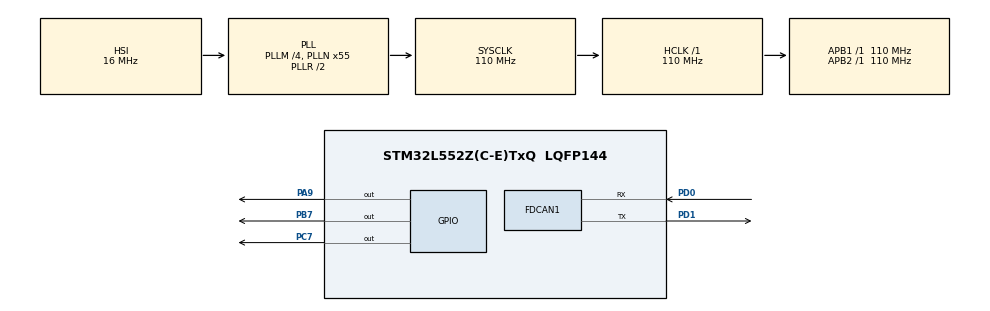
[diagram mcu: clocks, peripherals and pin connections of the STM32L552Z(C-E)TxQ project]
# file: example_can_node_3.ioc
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FDCAN1.AutoRetransmission=ENABLE
FDCAN1.CalculateBaudRateNominal=2291666
FDCAN1.CalculateTimeBitNominal=436
FDCAN1.CalculateTimeQuantumNominal=145.45454545454547
FDCAN1.ClockDivider=FDCAN_CLOCK_DIV4
FDCAN1.DataPrescaler=4
FDCAN1.ExtFiltersNbr=1
FDCAN1.Mode=FDCAN_MODE_INTERNAL_LOOPBACK
FDCAN1.NominalPrescaler=4
Mcu.Family=STM32L5
Mcu.Name=STM32L552Z(C-E)TxQ
Mcu.Package=LQFP144
Mcu.TrustZone=disable
NUCLEO-L552ZE-Q.BUTTON=1
NUCLEO-L552ZE-Q.LD1=true
NUCLEO-L552ZE-Q.LD2=true
NUCLEO-L552ZE-Q.LD3=true
NUCLEO-L552ZE-Q.VCP=true
NVIC.EXTI13_IRQn=true\:0\:0\:false\:false\:true\:false\:true\:true
NVIC.FDCAN1_IT0_IRQn=true\:0\:0\:false\:false\:true\:true\:true\:true
NVIC.PriorityGroup=NVIC_PRIORITYGROUP_3
PA13\ (JTMS/SWDIO).Signal=DEBUG_JTMS-SWDIO
PA14\ (JTCK/SWCLK).Signal=DEBUG_JTCK-SWCLK
PA9.Signal=GPIO_Output
PB3\ (JTDO/TRACESWO).Signal=DEBUG_JTDO-SWO
PB7.Signal=GPIO_Output
PC13.Signal=PWR_WKUP2
PC14-OSC32_IN\ (PC14).Signal=RCC_OSC32_IN
PC15-OSC32_OUT\ (PC15).Signal=RCC_OSC32_OUT
PC7.Signal=GPIO_Output
PD0.Mode=FDCAN_Activate
PD0.Signal=FDCAN1_RX
PD1.Mode=FDCAN_Activate
PD1.Signal=FDCAN1_TX
PG7.Signal=LPUART1_TX
PG8.Signal=LPUART1_RX
ProjectManager.HeapSize=0x200
ProjectManager.StackSize=0x400
ProjectManager.TargetToolchain=STM32CubeIDE
RCC.ADCCLockSelection=RCC_ADCCLKSOURCE_SYSCLK
RCC.ADCFreq_Value=110000000
RCC.AHBFreq_Value=110000000
RCC.APB1Freq_Value=110000000
RCC.APB1TimFreq_Value=110000000
RCC.APB2Freq_Value=110000000
RCC.APB2TimFreq_Value=110000000
RCC.CK48CLockSelection=RCC_USBCLKSOURCE_HSI48
RCC.CortexFreq_Value=110000000
RCC.HCLKFreq_Value=110000000
RCC.HSE_VALUE=8000000
RCC.HSI48_VALUE=48000000
RCC.HSI_VALUE=16000000
RCC.LSE_VALUE=32768
RCC.MSI_VALUE=4000000
RCC.PLLN=55
RCC.PLLSAI1N=24
RCC.RTCClockSelection=RCC_RTCCLKSOURCE_LSE
RCC.SYSCLKFreq_VALUE=110000000
RCC.SYSCLKSource=RCC_SYSCLKSOURCE_PLLCLK
RCC.USBFreq_Value=48000000
RCC.VCOOutputFreq_Value=220000000
VP_ICACHE_VS_ICACHE.Mode=DirectMappedCache
VP_NUCLEO-L552ZE-Q_VS_BSP_COMMON.Mode=COMMON
VP_PWR_VS_DBSignals.Mode=DisableDeadBatterySignals
VP_PWR_VS_SECSignals.Mode=Security/Privilege
board=NUCLEO-L552ZE-Q

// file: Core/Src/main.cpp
/* USER CODE BEGIN Header */
/**
  ******************************************************************************
  * @file           : main.c
  * @brief          : Main program body
  ******************************************************************************
  * @attention
  *
  * Copyright (c) 2025 STMicroelectronics.
  * All rights reserved.
  *
  * This software is licensed under terms that can be found in the LICENSE file
  * in the root directory of this software component.
  * If no LICENSE file comes with this software, it is provided AS-IS.
  *
  ******************************************************************************
  */
/* USER CODE END Header */
#include <canard.h>
#include <main.hpp>
#include "can.hpp"

#include "dsdlc_generated/include/dronecan_msgs.h"
/* USER CODE END Includes */

FDCAN_HandleTypeDef hfdcan1;

void SystemClock_Config(void);
static void MX_GPIO_Init(void);
static void MX_FDCAN1_Init(void);

/* USER CODE BEGIN 0 */
int8_t indx = 0; // just for testing

//#define NODE_ID 69 // put this in defines

FDCAN_TxHeaderTypeDef TxHeader;
uint8_t TxData[6];

FDCAN_RxHeaderTypeDef RxHeader;
uint8_t RxData[8];
CAN can(&hfdcan1);

FDCAN_FilterTypeDef sFilterConfig;

void FDCAN_Config(void) {

    sFilterConfig.IdType = FDCAN_EXTENDED_ID;
    sFilterConfig.FilterIndex = 0;
    sFilterConfig.FilterType = FDCAN_FILTER_MASK;
    sFilterConfig.FilterConfig = FDCAN_FILTER_TO_RXFIFO0;
    sFilterConfig.FilterID1 = 0x0;
    sFilterConfig.FilterID2 = 0x0; // receive messages from all ids

    if (HAL_FDCAN_ConfigFilter(&hfdcan1, &sFilterConfig) != HAL_OK) {
        Error_Handler();
    }
}

void FDCAN_Activate(void) {
    if (HAL_FDCAN_ActivateNotification(&hfdcan1, FDCAN_IT_RX_FIFO0_NEW_MESSAGE, 0) != HAL_OK) {
        Error_Handler();
    }
}

void FDCAN_Transmit(void) {
    if (HAL_FDCAN_AddMessageToTxFifoQ(&hfdcan1, &TxHeader, TxData) != HAL_OK) {
        Error_Handler();
    }
}

void HAL_FDCAN_RxFifo0Callback(FDCAN_HandleTypeDef *hfdcan, uint32_t RxFifo0ITs) {

    if ((RxFifo0ITs & FDCAN_IT_RX_FIFO0_NEW_MESSAGE) != RESET) {
        if (HAL_FDCAN_GetRxMessage(hfdcan, FDCAN_RX_FIFO0, &RxHeader, RxData) != HAL_OK) {
            // Process received data (e.g., print it)
        	Error_Handler();
        }
//        FDCAN_RxHeaderTypeDef rx_header;

//        FDCAN_Activate(); // test with and without this re-activation
//        const uint64_t timestamp_usec = HAL_GetTick() * 1000ULL;

        can.handleRxFrame(&RxHeader, RxData);

    }
}

void request_node_id(CAN *can) {
	uint8_t unique_id[6] = {
	    0xBA, 0xAD, 0xF0, 0x0D,
	    0x12, 0x34
	};

	struct uavcan_protocol_dynamic_node_id_Allocation req;
    req.node_id = 0;
    req.first_part_of_unique_id = true;
    req.unique_id.len = 6;
    memcpy(req.unique_id.data, unique_id, 6);

    uint8_t buffer[UAVCAN_PROTOCOL_DYNAMIC_NODE_ID_ALLOCATION_MAX_SIZE];
    const int size = uavcan_protocol_dynamic_node_id_Allocation_encode(&req, buffer);
    uint8_t transfer_id = 0;
    can->broadcast(
    		CanardTransferTypeRequest,
			UAVCAN_PROTOCOL_DYNAMIC_NODE_ID_ALLOCATION_SIGNATURE,
			UAVCAN_PROTOCOL_DYNAMIC_NODE_ID_ALLOCATION_ID,
			&transfer_id,
			CANARD_TRANSFER_PRIORITY_HIGH,
			buffer,
			size
    );

}

/* USER CODE END 0 */

int main(void)
{

  /* MCU Configuration--------------------------------------------------------*/

  /* Reset of all peripherals, Initializes the Flash interface and the Systick. */
  HAL_Init();

  /* Configure the system clock */
  SystemClock_Config();

  /* Initialize all configured peripherals */
  MX_GPIO_Init();
  MX_FDCAN1_Init();
  /* USER CODE BEGIN 2 */
  FDCAN_Activate();
  if (HAL_FDCAN_Start(&hfdcan1) != HAL_OK) {
	  Error_Handler();
  }

  TxHeader.Identifier = NODE_ID;
  TxHeader.IdType = FDCAN_EXTENDED_ID;
  TxHeader.TxFrameType = FDCAN_DATA_FRAME;
  TxHeader.DataLength = FDCAN_DLC_BYTES_8;
  TxHeader.ErrorStateIndicator = FDCAN_ESI_ACTIVE;
  TxHeader.BitRateSwitch = FDCAN_BRS_OFF;
  TxHeader.FDFormat = FDCAN_CLASSIC_CAN;
  TxHeader.TxEventFifoControl = FDCAN_NO_TX_EVENTS;
  TxHeader.MessageMarker = 0;

  request_node_id(&can);
  /* USER CODE END 2 */

  /* Infinite loop */
  while (1)
  {

    /* USER CODE BEGIN 3 */
//	  for (int i = 0; i < 6; i++) TxData[i] = indx++;
//
//	  FDCAN_Transmit();

	  HAL_Delay(10);

//	  uint8_t heartbeat_payload[7] = { 0x01, 0x02, 0x03, 0x04, 0x05, 0x06, 0x07 };
//
//	  can.broadcast(
//			  CanardTransferTypeBroadcast,
//			  UAVCAN_PROTOCOL_NODESTATUS_SIGNATURE,
//			  UAVCAN_PROTOCOL_NODESTATUS_ID,
//			  &transfer_id,
//			  CANARD_TRANSFER_PRIORITY_HIGH,
//			  heartbeat_payload,
//			  sizeof(heartbeat_payload));

	  can.routineTasks();

//	  if (HAL_FDCAN_GetRxMessage(&hfdcan1, FDCAN_RX_FIFO0, &RxHeader, RxData) == HAL_OK) {
//	      printf("Received CAN Message: ");
//	      for (int i = 0; i < 8; i++) {
//	          printf("%02X ", RxData[i]);
//	      }
//	      printf("\n");
//	  }
  }
  /* USER CODE END 3 */
}

void SystemClock_Config(void)
{
  RCC_OscInitTypeDef RCC_OscInitStruct = {0};
  RCC_ClkInitTypeDef RCC_ClkInitStruct = {0};

  /** Configure the main internal regulator output voltage
  */
  if (HAL_PWREx_ControlVoltageScaling(PWR_REGULATOR_VOLTAGE_SCALE0) != HAL_OK)
  {
    Error_Handler();
  }

  /** Initializes the RCC Oscillators according to the specified parameters
  * in the RCC_OscInitTypeDef structure.
  */
  RCC_OscInitStruct.OscillatorType = RCC_OSCILLATORTYPE_HSI;
  RCC_OscInitStruct.HSIState = RCC_HSI_ON;
  RCC_OscInitStruct.HSICalibrationValue = RCC_HSICALIBRATION_DEFAULT;
  RCC_OscInitStruct.PLL.PLLState = RCC_PLL_ON;
  RCC_OscInitStruct.PLL.PLLSource = RCC_PLLSOURCE_HSI;
  RCC_OscInitStruct.PLL.PLLM = 4;
  RCC_OscInitStruct.PLL.PLLN = 55;
  RCC_OscInitStruct.PLL.PLLP = RCC_PLLP_DIV7;
  RCC_OscInitStruct.PLL.PLLQ = RCC_PLLQ_DIV2;
  RCC_OscInitStruct.PLL.PLLR = RCC_PLLR_DIV2;
  if (HAL_RCC_OscConfig(&RCC_OscInitStruct) != HAL_OK)
  {
    Error_Handler();
  }

  /** Initializes the CPU, AHB and APB buses clocks
  */
  RCC_ClkInitStruct.ClockType = RCC_CLOCKTYPE_HCLK|RCC_CLOCKTYPE_SYSCLK
                              |RCC_CLOCKTYPE_PCLK1|RCC_CLOCKTYPE_PCLK2;
  RCC_ClkInitStruct.SYSCLKSource = RCC_SYSCLKSOURCE_PLLCLK;
  RCC_ClkInitStruct.AHBCLKDivider = RCC_SYSCLK_DIV1;
  RCC_ClkInitStruct.APB1CLKDivider = RCC_HCLK_DIV1;
  RCC_ClkInitStruct.APB2CLKDivider = RCC_HCLK_DIV1;

  if (HAL_RCC_ClockConfig(&RCC_ClkInitStruct, FLASH_LATENCY_5) != HAL_OK)
  {
    Error_Handler();
  }
}

static void MX_FDCAN1_Init(void)
{

  hfdcan1.Instance = FDCAN1;
  hfdcan1.Init.ClockDivider = FDCAN_CLOCK_DIV1;
  hfdcan1.Init.FrameFormat = FDCAN_FRAME_CLASSIC;
  hfdcan1.Init.Mode = FDCAN_MODE_INTERNAL_LOOPBACK;
  hfdcan1.Init.AutoRetransmission = ENABLE;
  hfdcan1.Init.TransmitPause = DISABLE;
  hfdcan1.Init.ProtocolException = DISABLE;
  hfdcan1.Init.NominalPrescaler = 4;
  hfdcan1.Init.NominalSyncJumpWidth = 1;
  hfdcan1.Init.NominalTimeSeg1 = 1;
  hfdcan1.Init.NominalTimeSeg2 = 1;
  hfdcan1.Init.DataPrescaler = 4;
  hfdcan1.Init.DataSyncJumpWidth = 1;
  hfdcan1.Init.DataTimeSeg1 = 1;
  hfdcan1.Init.DataTimeSeg2 = 1;
  hfdcan1.Init.StdFiltersNbr = 0;
  hfdcan1.Init.ExtFiltersNbr = 1;
  hfdcan1.Init.TxFifoQueueMode = FDCAN_TX_FIFO_OPERATION;
  if (HAL_FDCAN_Init(&hfdcan1) != HAL_OK)
  {
    Error_Handler();
  }
  /* USER CODE BEGIN FDCAN1_Init 2 */
  FDCAN_Config();

  /* USER CODE END FDCAN1_Init 2 */

}

static void MX_GPIO_Init(void)
{

  /* GPIO Ports Clock Enable */
  __HAL_RCC_GPIOA_CLK_ENABLE();

}

void Error_Handler(void)
{
  __disable_irq();
  while (1)
  {
  }
}
